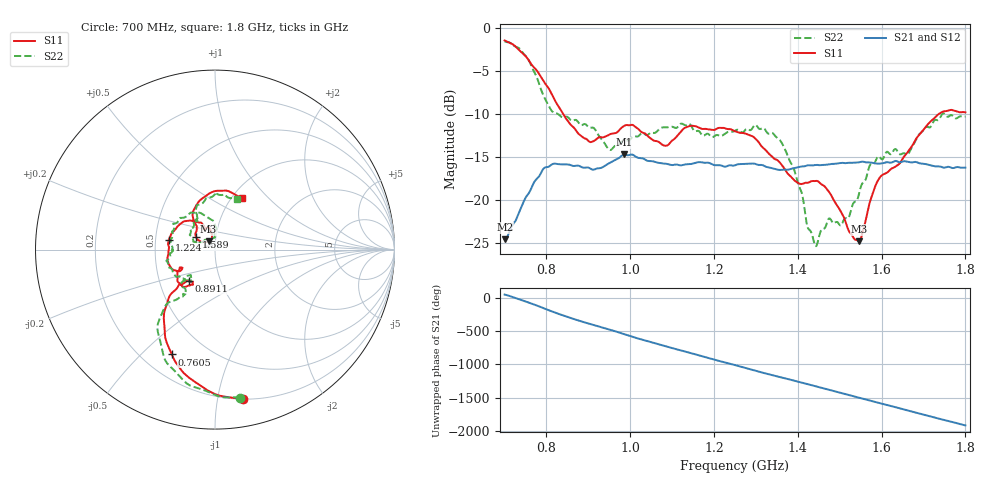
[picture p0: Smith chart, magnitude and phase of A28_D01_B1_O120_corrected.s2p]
! Created with skrf 1.9.0 (http://scikit-rf.org).
# Hz S RI R 50.0
!freq ReS11 ImS11 ReS21 ImS21 ReS12 ImS12 ReS22 ImS22
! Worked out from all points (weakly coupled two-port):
!   1601 points, 700 MHz to 1.8 GHz, reference 50 ohm
!   highest |S21| = -14.67 dB at 986 MHz (marker M1); lowest = -24.5 dB at 700.7 MHz (marker M2)
!   lowest |S11| = -24.8 dB at 1.546 GHz (marker M3), VSWR 1.12, Z = 46.4 + j4.24 ohm
!   |S11| at or under -10 dB: 839.9 MHz to 1.736 GHz (895.8 MHz wide, 69.6 % of centre)
!   |S22| runs from -25.3 to -1.5 dB; largest |S21 - S12| = 0.0036
!   S11 on the Smith chart (normalised r, x): 700 MHz: 0.20, -1.18; 760.5 MHz: 0.32, -0.62; 891.1 MHz: 0.70, -0.26; 1.224 GHz: 0.59, +0.07; 1.589 GHz: 0.80, +0.12; 1.8 GHz: 1.12, +0.71
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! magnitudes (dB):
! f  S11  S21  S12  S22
! 700 MHz  -1.4  -24.5  -24.3  -1.5
! 700.7 MHz  -1.5  -24.5  -24.2  -1.6
! 760.5 MHz  -4.0  -18.9  -18.8  -4.0
! 812.1 MHz  -7.6  -15.9  -15.8  -9.6
! 883.6 MHz  -12.6  -16.1  -16.0  -11.3
! 891.1 MHz  -12.8  -16.2  -16.2  -11.1
! 950.2 MHz  -12.4  -15.7  -15.7  -14.1
! 986 MHz  -11.3  -14.7  -14.8  -13.0
! 1.067 GHz  -13.2  -15.6  -15.6  -11.8
! 1.224 GHz  -11.6  -16.1  -16.1  -12.3
! 1.25 GHz  -12.0  -15.9  -15.9  -11.9
! 1.359 GHz  -15.7  -16.5  -16.5  -13.1
! 1.392 GHz  -17.7  -16.3  -16.2  -16.5
! 1.434 GHz  -17.8  -16.0  -15.9  -23.9
! 1.443 GHz  -17.7  -15.9  -15.9  -25.3
! 1.504 GHz  -21.4  -15.7  -15.7  -22.9
! 1.546 GHz  -24.8  -15.6  -15.6  -19.2
! 1.589 GHz  -17.9  -15.7  -15.7  -15.1
! 1.617 GHz  -16.6  -15.6  -15.6  -14.5
! 1.663 GHz  -14.4  -15.5  -15.5  -14.6
! 1.737 GHz  -10.0  -16.1  -16.1  -10.6
! 1.8 GHz  -9.8  -16.2  -16.2  -10.3
